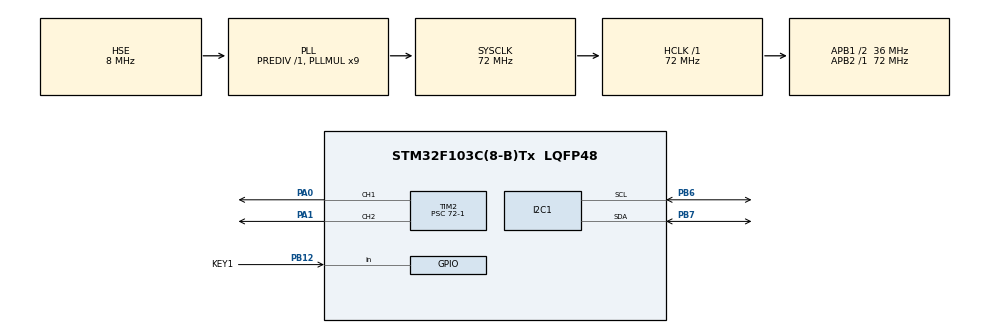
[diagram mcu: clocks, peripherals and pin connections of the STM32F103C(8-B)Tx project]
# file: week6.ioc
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Mcu.Family=STM32F1
Mcu.Name=STM32F103C(8-B)Tx
Mcu.Package=LQFP48
NVIC.PriorityGroup=NVIC_PRIORITYGROUP_4
PA0-WKUP.Signal=S_TIM2_CH1_ETR
PA1.Signal=S_TIM2_CH2
PA13.Mode=Serial_Wire
PA13.Signal=SYS_JTMS-SWDIO
PA14.Mode=Serial_Wire
PA14.Signal=SYS_JTCK-SWCLK
PB12.GPIO_Label=KEY1
PB12.Signal=GPIO_Input
PB6.Mode=I2C
PB6.Signal=I2C1_SCL
PB7.Mode=I2C
PB7.Signal=I2C1_SDA
PD0-OSC_IN.Mode=HSE-External-Oscillator
PD0-OSC_IN.Signal=RCC_OSC_IN
PD1-OSC_OUT.Mode=HSE-External-Oscillator
PD1-OSC_OUT.Signal=RCC_OSC_OUT
ProjectManager.HeapSize=0x200
ProjectManager.StackSize=0x400
ProjectManager.TargetToolchain=STM32CubeIDE
RCC.AHBFreq_Value=72000000
RCC.APB1CLKDivider=RCC_HCLK_DIV2
RCC.APB1Freq_Value=36000000
RCC.APB1TimFreq_Value=72000000
RCC.APB2Freq_Value=72000000
RCC.APB2TimFreq_Value=72000000
RCC.HCLKFreq_Value=72000000
RCC.PLLMUL=RCC_PLL_MUL9
RCC.PLLSourceVirtual=RCC_PLLSOURCE_HSE
RCC.SYSCLKFreq_VALUE=72000000
RCC.SYSCLKSource=RCC_SYSCLKSOURCE_PLLCLK
RCC.USBFreq_Value=72000000
SH.S_TIM2_CH1_ETR.0=TIM2_CH1,PWM Generation1 CH1
SH.S_TIM2_CH2.0=TIM2_CH2,PWM Generation2 CH2
TIM2.Channel-PWM\ Generation1\ CH1=TIM_CHANNEL_1
TIM2.Channel-PWM\ Generation2\ CH2=TIM_CHANNEL_2
TIM2.Period=100-1
TIM2.Prescaler=72-1
VP_TIM2_VS_ClockSourceINT.Mode=Internal
board=custom

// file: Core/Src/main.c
/* USER CODE BEGIN Header */
/**
  ******************************************************************************
  * @file           : main.c
  * @brief          : Main program body
  ******************************************************************************
  * @attention
  *
  * Copyright (c) 2025 STMicroelectronics.
  * All rights reserved.
  *
  * This software is licensed under terms that can be found in the LICENSE file
  * in the root directory of this software component.
  * If no LICENSE file comes with this software, it is provided AS-IS.
  *
  ******************************************************************************
  */
/* USER CODE END Header */
#include "main.h"
#include "i2c.h"
#include "tim.h"
#include "gpio.h"

/* USER CODE BEGIN Includes */
#include "drv8833.h"
#include "oled.h"
#include <stdio.h>
/* USER CODE END Includes */

void SystemClock_Config(void);

int main(void)
{

  /* MCU Configuration--------------------------------------------------------*/

  /* Reset of all peripherals, Initializes the Flash interface and the Systick. */
  HAL_Init();

  /* Configure the system clock */
  SystemClock_Config();

  /* Initialize all configured peripherals */
  MX_GPIO_Init();
  MX_I2C1_Init();
  MX_TIM2_Init();
  /* USER CODE BEGIN 2 */
  DRV8833_Init();
  OLED_Init();
  HAL_TIM_PWM_Start(&htim2,TIM_CHANNEL_1);
  HAL_TIM_PWM_Start(&htim2,TIM_CHANNEL_2);

  int mode=0,mode1=0,mode2=1,mode3=2,mode4=3;
  int speed=0;
  char message[20] ="";
  /* USER CODE END 2 */

  /* Infinite loop */
  /* USER CODE BEGIN WHILE */
  while (1)
  {
	  if (HAL_GPIO_ReadPin(KEY1_GPIO_Port, KEY1_Pin)==GPIO_PIN_RESET) {
		  HAL_Delay(10);
		  if (HAL_GPIO_ReadPin(KEY1_GPIO_Port, KEY1_Pin)==GPIO_PIN_RESET) {
			mode=(mode+1)%4;
		  }
		  while(HAL_GPIO_ReadPin(KEY1_GPIO_Port, KEY1_Pin)==GPIO_PIN_RESET);
	  }
	  if (mode==mode1) {
		  speed=0;
	  } else if (mode==mode2) {
		  speed=8;
	  } else if(mode==mode3) {
		  speed=16;
	  } else if (mode==mode4) {
		  speed=24;
	  }

	  DRV8833_Forward(speed);

	  OLED_NewFrame();

	  sprintf(message,"mode:%d",mode);
	  	  OLED_PrintString(0, 0, (uint8_t*)message, &font16x16, OLED_COLOR_NORMAL);
	  	  OLED_ShowFrame();

	  	  HAL_Delay(100);
    /* USER CODE END WHILE */

  }
}

void SystemClock_Config(void)
{
  RCC_OscInitTypeDef RCC_OscInitStruct = {0};
  RCC_ClkInitTypeDef RCC_ClkInitStruct = {0};

  /** Initializes the RCC Oscillators according to the specified parameters
  * in the RCC_OscInitTypeDef structure.
  */
  RCC_OscInitStruct.OscillatorType = RCC_OSCILLATORTYPE_HSE;
  RCC_OscInitStruct.HSEState = RCC_HSE_ON;
  RCC_OscInitStruct.HSEPredivValue = RCC_HSE_PREDIV_DIV1;
  RCC_OscInitStruct.HSIState = RCC_HSI_ON;
  RCC_OscInitStruct.PLL.PLLState = RCC_PLL_ON;
  RCC_OscInitStruct.PLL.PLLSource = RCC_PLLSOURCE_HSE;
  RCC_OscInitStruct.PLL.PLLMUL = RCC_PLL_MUL9;
  if (HAL_RCC_OscConfig(&RCC_OscInitStruct) != HAL_OK)
  {
    Error_Handler();
  }

  /** Initializes the CPU, AHB and APB buses clocks
  */
  RCC_ClkInitStruct.ClockType = RCC_CLOCKTYPE_HCLK|RCC_CLOCKTYPE_SYSCLK
                              |RCC_CLOCKTYPE_PCLK1|RCC_CLOCKTYPE_PCLK2;
  RCC_ClkInitStruct.SYSCLKSource = RCC_SYSCLKSOURCE_PLLCLK;
  RCC_ClkInitStruct.AHBCLKDivider = RCC_SYSCLK_DIV1;
  RCC_ClkInitStruct.APB1CLKDivider = RCC_HCLK_DIV2;
  RCC_ClkInitStruct.APB2CLKDivider = RCC_HCLK_DIV1;

  if (HAL_RCC_ClockConfig(&RCC_ClkInitStruct, FLASH_LATENCY_2) != HAL_OK)
  {
    Error_Handler();
  }
}

void Error_Handler(void)
{
  __disable_irq();
  while (1)
  {
  }
}
